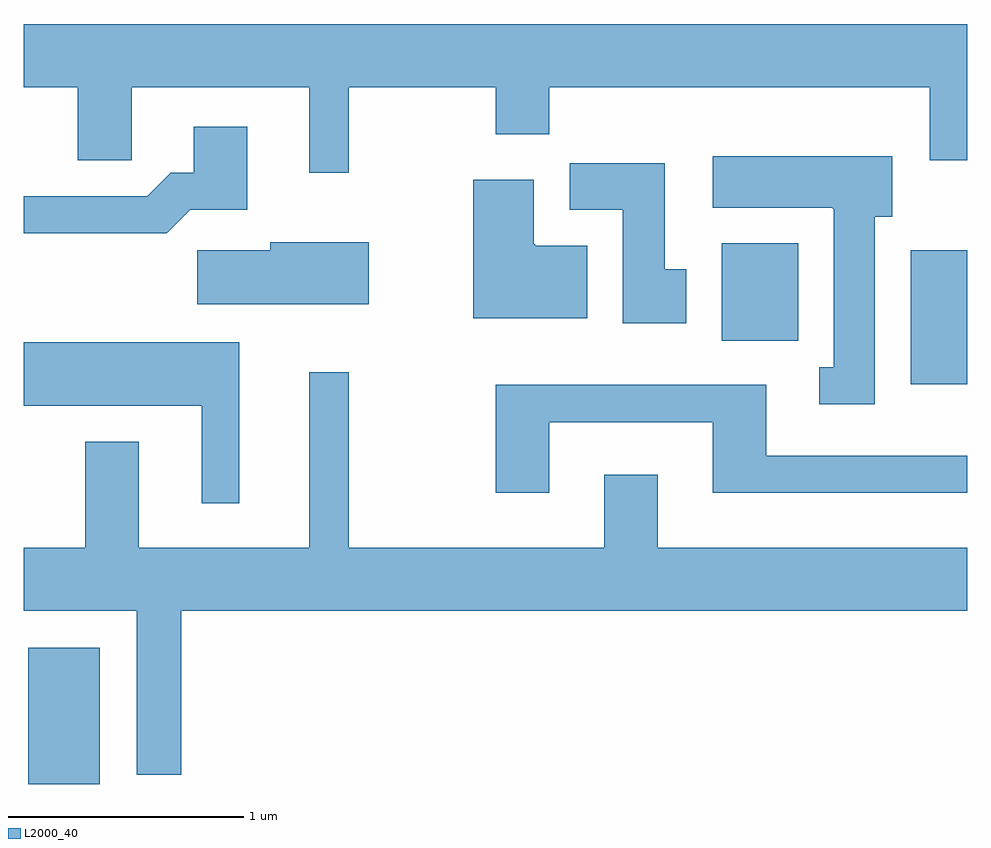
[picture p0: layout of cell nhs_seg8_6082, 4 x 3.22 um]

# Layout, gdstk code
import gdstk
lib = gdstk.Library(unit=1e-6, precision=1e-09)
def R(c, l, rs):  # rectangles x0, y0, x1, y1
    for r in rs: c.add(gdstk.rectangle(r[:2], r[2:], *l))
def P(c, l, *ps):  # polygons
    for p in ps: c.add(gdstk.Polygon(p, *l))
L2000_40 = (2000, 40)

nhs_seg8_6082 = lib.new_cell('nhs_seg8_6082')
R(nhs_seg8_6082, L2000_40, [(367.631,1842.342,367.934,1842.919), (371.371,1844.036,371.611,1844.604), (370.571,1844.221,370.894,1844.634)])
P(nhs_seg8_6082, L2000_40, [(368.989,1845.296),(369.611,1845.296),(369.611,1845.096),(369.839,1845.096),(369.839,1845.296),(371.451,1845.296),(371.451,1844.986),(371.611,1844.986),(371.611,1845.564),(367.611,1845.564),(367.611,1845.296),(367.841,1845.296),(367.841,1844.986),(368.069,1844.986),(368.069,1845.296),(368.821,1845.296),(368.821,1844.933),(368.989,1844.933)],
  [(368.317,1844.776),(368.559,1844.776),(368.559,1845.129),(368.331,1845.129),(368.331,1844.934),(368.234,1844.934),(368.134,1844.834),(367.611,1844.834),(367.611,1844.676),(368.217,1844.676)],
  [(371.219,1844.746),(371.294,1844.746),(371.294,1845.004),(370.531,1845.004),(370.531,1844.786),(371.04,1844.786),(371.04,1844.78),(371.046,1844.78),(371.046,1844.109),(370.983,1844.109),(370.983,1843.951),(371.219,1843.951)],
  [(370.419,1844.524),(370.329,1844.524),(370.329,1844.974),(369.926,1844.974),(369.926,1844.776),(370.151,1844.776),(370.151,1844.296),(370.419,1844.296)],
  [(369.999,1844.624),(369.78,1844.624),(369.78,1844.63),(369.774,1844.63),(369.774,1844.904),(369.516,1844.904),(369.516,1844.316),(369.999,1844.316)],
  [(369.074,1844.639),(368.656,1844.639),(368.656,1844.604),(368.346,1844.604),(368.346,1844.376),(369.074,1844.376)],
  [(368.524,1844.214),(367.611,1844.214),(367.611,1843.946),(368.366,1843.946),(368.366,1843.533),(368.524,1843.533)],
  [(371.611,1843.344),(370.299,1843.344),(370.299,1843.654),(370.071,1843.654),(370.071,1843.344),(368.989,1843.344),(368.989,1844.088),(368.821,1844.088),(368.821,1843.344),(368.099,1843.344),(368.099,1843.794),(367.871,1843.794),(367.871,1843.344),(367.611,1843.344),(367.611,1843.076),(368.091,1843.076),(368.091,1842.381),(368.279,1842.381),(368.279,1843.076),(371.611,1843.076)],
  [(369.839,1843.876),(370.531,1843.876),(370.531,1843.576),(371.611,1843.576),(371.611,1843.734),(370.759,1843.734),(370.759,1844.034),(369.611,1844.034),(369.611,1843.576),(369.839,1843.576)])

lib.write_gds('nhs_seg8_6082.gds')
